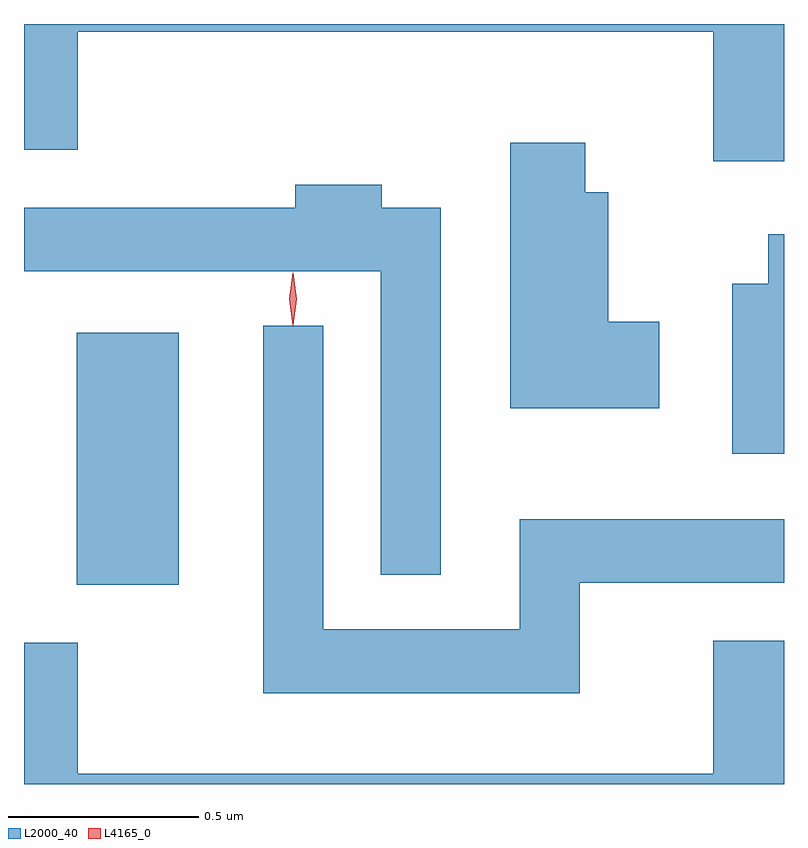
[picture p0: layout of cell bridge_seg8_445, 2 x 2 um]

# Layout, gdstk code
import gdstk
lib = gdstk.Library(unit=1e-6, precision=1e-09)
def R(c, l, rs):  # rectangles x0, y0, x1, y1
    for r in rs: c.add(gdstk.rectangle(r[:2], r[2:], *l))
def P(c, l, *ps):  # polygons
    for p in ps: c.add(gdstk.Polygon(p, *l))
L2000_40 = (2000, 40)
L4165_0 = (4165, 0)

bridge_seg8_445 = lib.new_cell('bridge_seg8_445')
R(bridge_seg8_445, L2000_40, [(977.466,1826.081,977.734,1826.744)])
P(bridge_seg8_445, L2000_40, [(979.327,1827.557),(977.327,1827.557),(977.327,1827.226),(977.469,1827.226),(977.469,1827.536),(979.141,1827.536),(979.141,1827.196),(979.327,1827.196)],
  [(978.999,1826.774),(978.864,1826.774),(978.864,1827.114),(978.804,1827.114),(978.804,1827.244),(978.606,1827.244),(978.606,1826.546),(978.999,1826.546)],
  [(978.424,1827.074),(978.269,1827.074),(978.269,1827.134),(978.041,1827.134),(978.041,1827.074),(977.327,1827.074),(977.327,1826.906),(978.266,1826.906),(978.266,1826.108),(978.424,1826.108)],
  [(979.327,1827.004),(979.286,1827.004),(979.286,1826.874),(979.191,1826.874),(979.191,1826.426),(979.327,1826.426)],
  [(978.789,1826.086),(979.327,1826.086),(979.327,1826.254),(978.631,1826.254),(978.631,1825.964),(978.114,1825.964),(978.114,1826.763),(977.956,1826.763),(977.956,1825.796),(978.789,1825.796)],
  [(979.327,1825.934),(979.141,1825.934),(979.141,1825.584),(977.469,1825.584),(977.469,1825.929),(977.327,1825.929),(977.327,1825.557),(979.327,1825.557)])
P(bridge_seg8_445, L4165_0, [(978.034,1826.764),(978.025,1826.833),(978.034,1826.902),(978.035,1826.903),(978.035,1826.902),(978.045,1826.833),(978.035,1826.764),(978.035,1826.764)],
  [(978.034,1826.767),(978.025,1826.834),(978.034,1826.9),(978.035,1826.9),(978.036,1826.9),(978.045,1826.834),(978.036,1826.767),(978.035,1826.767)])

lib.write_gds('bridge_seg8_445.gds')
